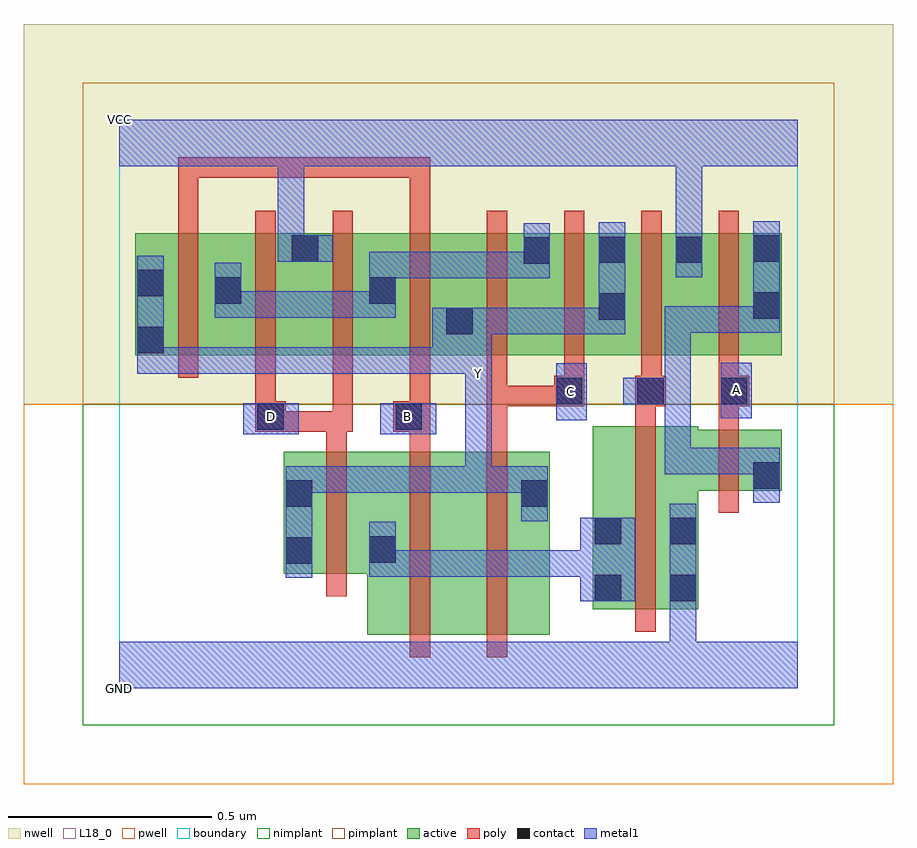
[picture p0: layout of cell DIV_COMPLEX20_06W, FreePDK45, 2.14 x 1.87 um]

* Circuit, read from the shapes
.subckt DIV_COMPLEX20_06W A B C D GND VCC Y
M1 n1 D Y VSUBS nfet w=0.3u l=0.05u
M2 n2 B n1 VSUBS nfet w=0.45u l=0.05u
M3 Y C n2 VSUBS nfet w=0.45u l=0.05u
M4 GND n3 n1 VSUBS nfet w=0.45u l=0.05u
M5 n3 A GND VSUBS nfet w=0.15u l=0.05u
M6 n4 B Y n5 pfet w=0.3u l=0.05u m=2
M7 VCC D n4 n5 pfet w=0.3u l=0.05u m=2
M8 n4 C Y n5 pfet w=0.3u l=0.05u m=2
M9 VCC n3 Y n5 pfet w=0.3u l=0.05u
M10 n3 A VCC n5 pfet w=0.3u l=0.05u
.ends

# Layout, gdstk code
import gdstk
lib = gdstk.Library(unit=1e-6, precision=1e-09)
def R(c, l, rs):  # rectangles x0, y0, x1, y1
    for r in rs: c.add(gdstk.rectangle(r[:2], r[2:], *l))
def A(c, l, x, y, w, h, nx, ny, dx, dy):  # array of equal rectangles
    R(c, l, [(x+i*dx, y+j*dy, x+i*dx+w, y+j*dy+h) for i in range(nx) for j in range(ny)])
active = (1, 0)
pwell = (2, 0)
nwell = (3, 0)
nimplant = (4, 0)
pimplant = (5, 0)
poly = (9, 0)
contact = (10, 0)
metal1 = (11, 0)
L18_0 = (18, 0)
boundary = (235, 0)

div_complex20_06w = lib.new_cell('DIV_COMPLEX20_06W')
A(div_complex20_06w, active, 0.04, 0.82, 0.265, 0.3, 5, 1, 0.19, 0)
A(div_complex20_06w, active, 1.175, 0.82, 0.075, 0.3, 3, 1, 0.19, 0)
R(div_complex20_06w, active, [(0.61,0.132,0.835,0.582), (0.835,0.132,1.06,0.582), (0.985,0.195,1.06,0.582), (1.165,0.195,1.425,0.645), (1.165,0.195,1.24,0.645), (0.61,0.2,0.685,0.452), (1.35,0.21,1.425,0.572), (0.405,0.282,0.685,0.582), (0.405,0.302,0.48,0.582), (1.35,0.487,1.63,0.637), (1.555,0.487,1.63,0.637), (0.04,0.82,0.115,1.055), (0.23,0.82,0.305,1.12), (0.99,0.82,1.25,1.12), (1.175,0.82,1.44,1.12), (1.365,0.82,1.63,1.12), (0.61,0.852,0.685,1.12), (0.99,0.852,1.065,1.12), (0.8,0.867,0.875,1.055), (0.42,0.882,0.495,1.12)])
R(div_complex20_06w, pwell, [(-0.235,-0.235,1.905,0.7)])
R(div_complex20_06w, nwell, [(-0.235,0.7,1.905,1.635)])
R(div_complex20_06w, nimplant, [(-0.09,-0.09,1.76,0.7)])
R(div_complex20_06w, pimplant, [(-0.09,0.7,1.76,1.49)])
A(div_complex20_06w, poly, 1.095, 0.72, 0.05, 0.095, 3, 1, 0.19, 0)
A(div_complex20_06w, poly, 0.145, 0.765, 0.05, 0.41, 8, 1, 0.19, 0)
R(div_complex20_06w, poly, [(0.715,0.077,0.765,0.637), (0.905,0.077,0.955,0.637), (1.27,0.14,1.32,0.7), (0.51,0.227,0.56,0.637), (1.475,0.432,1.525,0.692), (0.51,0.587,0.56,0.682), (0.715,0.587,0.765,0.682), (0.905,0.587,0.955,0.745), (0.335,0.632,0.41,0.707), (0.36,0.632,0.56,0.682), (0.51,0.632,0.56,0.682), (0.51,0.632,0.56,0.682), (0.51,0.632,0.575,0.682), (0.525,0.632,0.575,0.815), (0.675,0.632,0.765,0.707), (1.475,0.642,1.525,0.745), (1.27,0.65,1.32,0.745), (0.335,0.657,0.385,0.815), (0.715,0.657,0.765,0.815), (0.905,0.695,1.12,0.745), (0.905,0.695,0.955,0.745), (0.905,0.695,0.955,0.745), (0.905,0.695,0.955,0.745), (0.905,0.695,0.955,0.815), (1.07,0.695,1.145,0.77), (1.27,0.695,1.345,0.77), (1.475,0.695,1.55,0.77), (0.145,1.125,0.195,1.307), (0.715,1.125,0.765,1.307), (0.145,1.257,0.195,1.307), (0.145,1.257,0.195,1.307), (0.145,1.257,0.195,1.307), (0.145,1.257,0.327,1.307), (0.277,1.257,0.327,1.307), (0.277,1.257,0.327,1.307), (0.277,1.257,0.327,1.307), (0.277,1.257,0.542,1.307), (0.492,1.257,0.542,1.307), (0.492,1.257,0.765,1.307), (0.715,1.257,0.765,1.307), (0.715,1.257,0.765,1.307), (0.715,1.257,0.765,1.307)])
R(div_complex20_06w, contact, [(1.17,0.215,1.235,0.28), (1.355,0.215,1.42,0.28), (0.41,0.307,0.475,0.372), (0.615,0.31,0.68,0.375), (1.17,0.355,1.235,0.42), (1.355,0.355,1.42,0.42), (0.41,0.447,0.475,0.512), (0.99,0.447,1.055,0.512), (1.56,0.492,1.625,0.557), (0.34,0.637,0.405,0.702), (0.68,0.637,0.745,0.702), (1.075,0.7,1.14,0.765), (1.275,0.7,1.34,0.765), (1.48,0.7,1.545,0.765), (0.045,0.825,0.11,0.89), (0.805,0.872,0.87,0.937), (1.18,0.907,1.245,0.972), (1.56,0.91,1.625,0.975), (0.235,0.947,0.3,1.012), (0.615,0.947,0.68,1.012), (0.045,0.965,0.11,1.03), (0.995,1.045,1.06,1.11), (1.18,1.047,1.245,1.112), (1.37,1.047,1.435,1.112), (0.425,1.05,0.49,1.115), (1.56,1.05,1.625,1.115)])
R(div_complex20_06w, metal1, [(0,0,1.67,0.115), (1.355,0.05,1.42,0.245), (1.355,0.18,1.42,0.245), (1.355,0.18,1.42,0.245), (1.355,0.18,1.42,0.455), (1.135,0.215,1.27,0.42), (0.41,0.272,0.475,0.547), (0.615,0.275,0.68,0.34), (0.615,0.275,0.68,0.34), (0.615,0.275,0.68,0.41), (0.615,0.275,0.917,0.34), (0.852,0.275,0.917,0.34), (0.852,0.275,0.917,0.34), (0.852,0.275,0.917,0.34), (0.852,0.275,1.055,0.34), (0.99,0.275,1.055,0.34), (0.99,0.275,1.055,0.34), (0.99,0.275,1.055,0.34), (0.99,0.275,1.2,0.34), (0.99,0.412,1.055,0.547), (1.56,0.457,1.625,0.592), (0.41,0.482,0.475,0.547), (0.41,0.482,0.475,0.547), (0.41,0.482,0.612,0.547), (0.547,0.482,0.612,0.547), (0.547,0.482,0.612,0.547), (0.547,0.482,0.612,0.547), (0.547,0.482,0.917,0.547), (0.852,0.482,0.917,0.547), (0.852,0.482,0.917,0.547), (0.852,0.482,0.917,0.547), (0.852,0.482,1.055,0.547), (0.852,0.482,0.917,0.772), (1.342,0.527,1.407,0.592), (1.342,0.527,1.625,0.592), (1.342,0.527,1.407,0.765), (1.56,0.527,1.625,0.592), (1.56,0.527,1.625,0.592), (0.305,0.625,0.442,0.702), (0.642,0.625,0.78,0.702), (1.075,0.66,1.15,0.8), (1.48,0.665,1.557,0.802), (1.24,0.7,1.375,0.765), (1.31,0.7,1.407,0.765), (1.342,0.7,1.407,0.765), (1.342,0.7,1.407,0.94), (0.852,0.707,0.917,0.842), (0.045,0.775,0.27,0.84), (0.045,0.775,0.11,0.855), (0.205,0.775,0.27,0.84), (0.205,0.775,0.27,0.84), (0.205,0.775,0.27,0.84), (0.205,0.775,0.437,0.84), (0.372,0.775,0.437,0.84), (0.372,0.775,0.437,0.84), (0.372,0.775,0.437,0.84), (0.372,0.775,0.697,0.84), (0.632,0.775,0.697,0.84), (0.632,0.775,0.697,0.84), (0.632,0.775,0.697,0.84), (0.632,0.775,0.835,0.84), (0.77,0.775,0.917,0.937), (0.852,0.775,0.917,0.84), (0.045,0.79,0.11,0.855), (0.045,0.79,0.11,1.065), (0.852,0.872,0.917,0.937), (0.852,0.872,0.917,0.937), (0.852,0.872,1.062,0.937), (0.997,0.872,1.062,0.937), (0.997,0.872,1.062,0.937), (0.997,0.872,1.062,0.937), (0.997,0.872,1.245,0.937), (1.18,0.872,1.245,1.147), (1.342,0.875,1.407,0.94), (1.342,0.875,1.625,0.94), (1.56,0.875,1.625,0.94), (1.56,0.875,1.625,0.94), (1.56,0.875,1.625,1.15), (0.235,0.912,0.3,0.977), (0.235,0.912,0.3,0.977), (0.235,0.912,0.3,1.047), (0.235,0.912,0.437,0.977), (0.372,0.912,0.437,0.977), (0.372,0.912,0.437,0.977), (0.372,0.912,0.437,0.977), (0.372,0.912,0.68,0.977), (0.615,0.912,0.68,1.047), (0.615,0.982,0.68,1.047), (0.615,0.982,0.68,1.075), (0.615,1.01,0.917,1.075), (0.852,1.01,0.917,1.075), (0.852,1.01,0.917,1.075), (0.852,1.01,0.917,1.075), (0.852,1.01,1.06,1.075), (0.995,1.01,1.06,1.145), (1.37,1.012,1.435,1.147), (0.39,1.05,0.455,1.115), (0.39,1.05,0.455,1.115), (0.39,1.05,0.525,1.115), (0.39,1.05,0.455,1.35), (1.37,1.082,1.435,1.147), (1.37,1.082,1.435,1.147), (1.37,1.082,1.435,1.35), (0,1.285,1.67,1.4)])
R(div_complex20_06w, L18_0, [(0,0,1.67,0.115), (1.355,0.05,1.42,0.245), (1.355,0.18,1.42,0.455), (1.355,0.18,1.42,0.245), (1.355,0.18,1.42,0.245), (0.41,0.272,0.475,0.547), (0.99,0.412,1.055,0.547), (0.41,0.482,0.475,0.547), (0.41,0.482,0.475,0.547), (0.41,0.482,0.612,0.547), (0.547,0.482,0.612,0.547), (0.547,0.482,0.612,0.547), (0.547,0.482,0.612,0.547), (0.547,0.482,0.917,0.547), (0.852,0.482,0.917,0.547), (0.852,0.482,0.917,0.547), (0.852,0.482,0.917,0.547), (0.852,0.482,0.917,0.772), (0.852,0.482,1.055,0.547), (0.305,0.625,0.442,0.702), (0.642,0.625,0.78,0.702), (0.342,0.637,0.407,0.702), (0.677,0.637,0.742,0.702), (1.075,0.66,1.15,0.8), (1.48,0.665,1.557,0.802), (1.077,0.697,1.142,0.762), (1.487,0.702,1.552,0.767), (0.852,0.707,0.917,0.842), (0.852,0.742,0.917,0.807), (0.045,0.775,0.11,0.855), (0.045,0.775,0.27,0.84), (0.205,0.775,0.27,0.84), (0.205,0.775,0.27,0.84), (0.205,0.775,0.27,0.84), (0.205,0.775,0.437,0.84), (0.372,0.775,0.437,0.84), (0.372,0.775,0.437,0.84), (0.372,0.775,0.437,0.84), (0.372,0.775,0.697,0.84), (0.632,0.775,0.697,0.84), (0.632,0.775,0.697,0.84), (0.632,0.775,0.697,0.84), (0.632,0.775,0.835,0.84), (0.77,0.775,0.917,0.937), (0.852,0.775,0.917,0.84), (0.045,0.79,0.11,1.065), (0.045,0.79,0.11,0.855), (0.852,0.872,0.917,0.937), (0.852,0.872,0.917,0.937), (0.852,0.872,1.062,0.937), (0.997,0.872,1.062,0.937), (0.997,0.872,1.062,0.937), (0.997,0.872,1.062,0.937), (0.997,0.872,1.245,0.937), (1.18,0.872,1.245,1.147), (1.37,1.012,1.435,1.147), (0.39,1.05,0.455,1.115), (0.39,1.05,0.455,1.115), (0.39,1.05,0.525,1.115), (0.39,1.05,0.455,1.35), (1.37,1.082,1.435,1.147), (1.37,1.082,1.435,1.147), (1.37,1.082,1.435,1.35), (0,1.285,1.67,1.4)])
R(div_complex20_06w, boundary, [(0,0,1.67,1.4)])
div_complex20_06w.add(gdstk.Label('A', (1.52,0.735), layer=11, texttype=0))
div_complex20_06w.add(gdstk.Label('B', (0.71,0.67), layer=11, texttype=0))
div_complex20_06w.add(gdstk.Label('C', (1.11,0.73), layer=11, texttype=0))
div_complex20_06w.add(gdstk.Label('D', (0.375,0.67), layer=11, texttype=0))
div_complex20_06w.add(gdstk.Label('Y', (0.885,0.775), layer=11, texttype=0))
div_complex20_06w.add(gdstk.Label('VCC', (0,1.4), layer=11, texttype=0))
div_complex20_06w.add(gdstk.Label('GND', (0,0), layer=11, texttype=0))

lib.write_gds('DIV_COMPLEX20_06W.gds')
